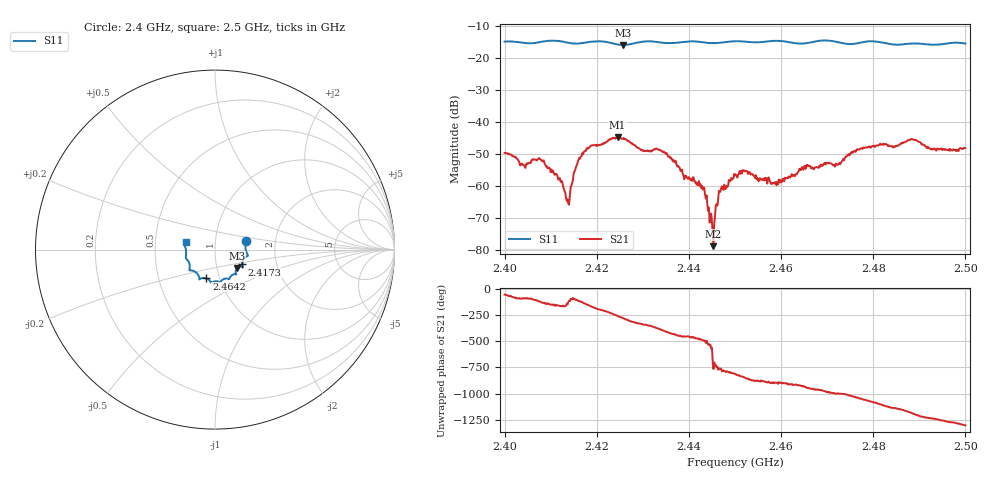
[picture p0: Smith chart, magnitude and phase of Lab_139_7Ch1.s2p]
# Hz S RI R 50
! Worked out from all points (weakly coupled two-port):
!   601 points, 2.4 GHz to 2.5 GHz, reference 50 ohm
!   highest |S21| = -44.78 dB at 2.4245 GHz (marker M1); lowest = -78.8 dB at 2.4453 GHz (marker M2)
!   lowest |S11| = -15.9 dB at 2.4257 GHz (marker M3), VSWR 1.38, Z = 62.4 - j13.1 ohm
!   |S11| at or under -10 dB: start of sweep to end of sweep
!   S12 and S22 are empty: the file has one direction only
!   S11 on the Smith chart (normalised r, x): 2.4 GHz: 1.41, +0.14; 2.4173 GHz: 1.34, -0.23; 2.4642 GHz: 0.86, -0.29; 2.5 GHz: 0.72, +0.06
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2.4e9  0.1737 0.0495  0.00196 -0.00265  0 0  0 0
2.404e9  0.1715 0.025  0.000124 -0.00213  0 0  0 0
2.408e9  0.178 -0.0212  -0.00159 -0.00195  0 0  0 0
2.412e9  0.1798 -0.0368  -0.00127 -0.000375  0 0  0 0
2.413667e9  0.1684 -0.0443  -0.000517 -0.000339  0 0  0 0
2.416667e9  0.1528 -0.075  -0.00167 -0.00241  0 0  0 0
2.417333e9  0.1521 -0.0824  -0.00258 -0.00235  0 0  0 0
2.4245e9  0.132 -0.0958  -0.00123 0.00563  0 0  0 0
2.425667e9  0.1225 -0.1024  0.000823 0.00539  0 0  0 0
2.433333e9  0.1125 -0.1364  0.00351 -0.00119  0 0  0 0
2.442833e9  0.0708 -0.1622  -0.000611 -0.000799  0 0  0 0
2.444833e9  0.0564 -0.1615  -0.000322 0.000184  0 0  0 0
2.445333e9  0.0525 -0.1626  8.04e-05 -8.19e-05  0 0  0 0
2.446833e9  0.0413 -0.1684  0.000625 -0.000526  0 0  0 0
2.45e9  0.0295 -0.1808  -2.32e-05 -0.00147  0 0  0 0
2.452167e9  0.0222 -0.1789  -0.00106 -0.00131  0 0  0 0
2.458833e9  -0.0212 -0.1846  -0.00115 -8.38e-05  0 0  0 0
2.464167e9  -0.0483 -0.161  -0.00161 0.000741  0 0  0 0
2.466667e9  -0.0763 -0.1595  -0.00109 0.00157  0 0  0 0
2.483333e9  -0.1406 -0.0894  0.00285 -0.00326  0 0  0 0
2.488667e9  -0.162 -0.0479  -0.00213 -0.00487  0 0  0 0
2.5e9  -0.1634 0.0415  -0.00275 0.00276  0 0  0 0
